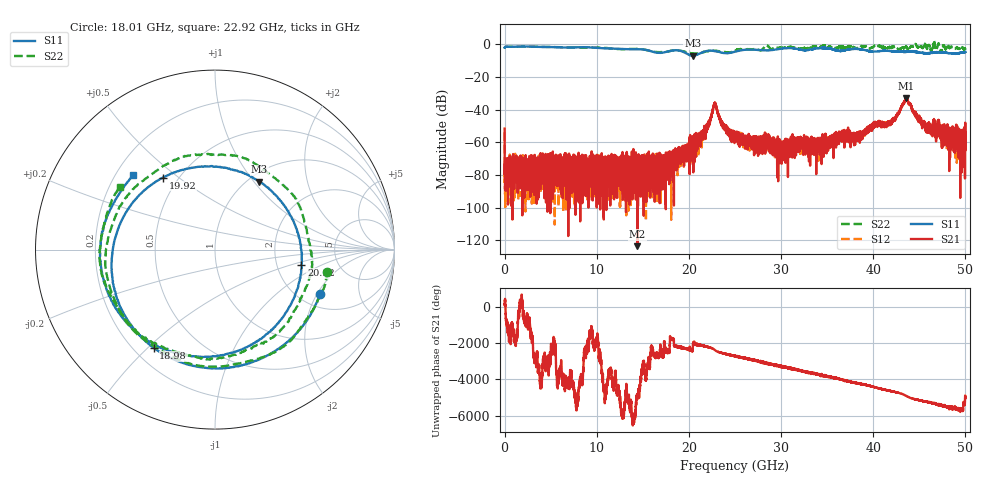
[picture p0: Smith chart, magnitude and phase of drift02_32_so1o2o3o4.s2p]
!Created with skrf (http://scikit-rf.org).
# Hz S RI R 50.0
!freq ReS11 ImS11 ReS21 ImS21 ReS12 ImS12 ReS22 ImS22
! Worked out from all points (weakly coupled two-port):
!   10001 points, 300 kHz to 50 GHz, reference 50 ohm
!   highest |S21| = -32.84 dB at 43.59 GHz (marker M1); lowest = -123.7 dB at 14.42 GHz (marker M2)
!   lowest |S11| = -6.9 dB at 20.42 GHz (marker M3), VSWR 2.64, Z = 56 + j53.2 ohm
!   |S11| at or under -10 dB: nowhere
!   |S22| runs from -5.7 to 2.4 dB; largest |S21 - S12| = 0.0041
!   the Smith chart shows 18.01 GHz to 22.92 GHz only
!   S11 on the Smith chart (normalised r, x): 18.01 GHz: 2.55, -2.10; 18.98 GHz: 0.28, -0.52; 19.92 GHz: 0.41, +0.44; 20.92 GHz: 2.75, -0.62; 22.92 GHz: 0.27, +0.36
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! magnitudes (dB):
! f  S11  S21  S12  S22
! 300 kHz  -2.1  -51.6  -53.8  -2.0
! 255.3 MHz  -1.4  -69.8  -78.3  -1.4
! 8.335 GHz  -1.7  -74.0  -77.3  -1.9
! 14.42 GHz  -2.9  -123.7  -81.5  -2.8
! 16.67 GHz  -5.2  -77.4  -75.0  -4.7
! 18.01 GHz  -4.0  -72.9  -68.3  -3.9
! 18.98 GHz  -3.8  -65.8  -70.3  -3.9
! 19.92 GHz  -6.1  -64.2  -63.8  -5.2
! 20.42 GHz  -6.9  -70.4  -61.1  -5.4
! 20.92 GHz  -6.2  -56.0  -64.5  -5.7
! 21.79 GHz  -4.3  -51.7  -52.4  -4.4
! 22.92 GHz  -4.2  -37.1  -36.9  -4.0
! 23.74 GHz  -5.3  -49.7  -49.7  -4.7
! 25 GHz  -4.5  -58.5  -56.1  -3.9
! 29.91 GHz  -2.7  -60.1  -63.8  -2.0
! 33.34 GHz  -3.1  -61.1  -64.3  -1.5
! 38.06 GHz  -2.8  -56.6  -57.5  -2.2
! 40.36 GHz  -4.3  -48.5  -48.4  -0.9
! 41.67 GHz  -4.0  -48.6  -48.5  -1.9
! 43.59 GHz  -4.6  -32.8  -33.5  -1.4
! 45.63 GHz  -5.4  -48.2  -49.4  0.1
! 50 GHz  -4.7  -60.5  -63.0  -2.6
